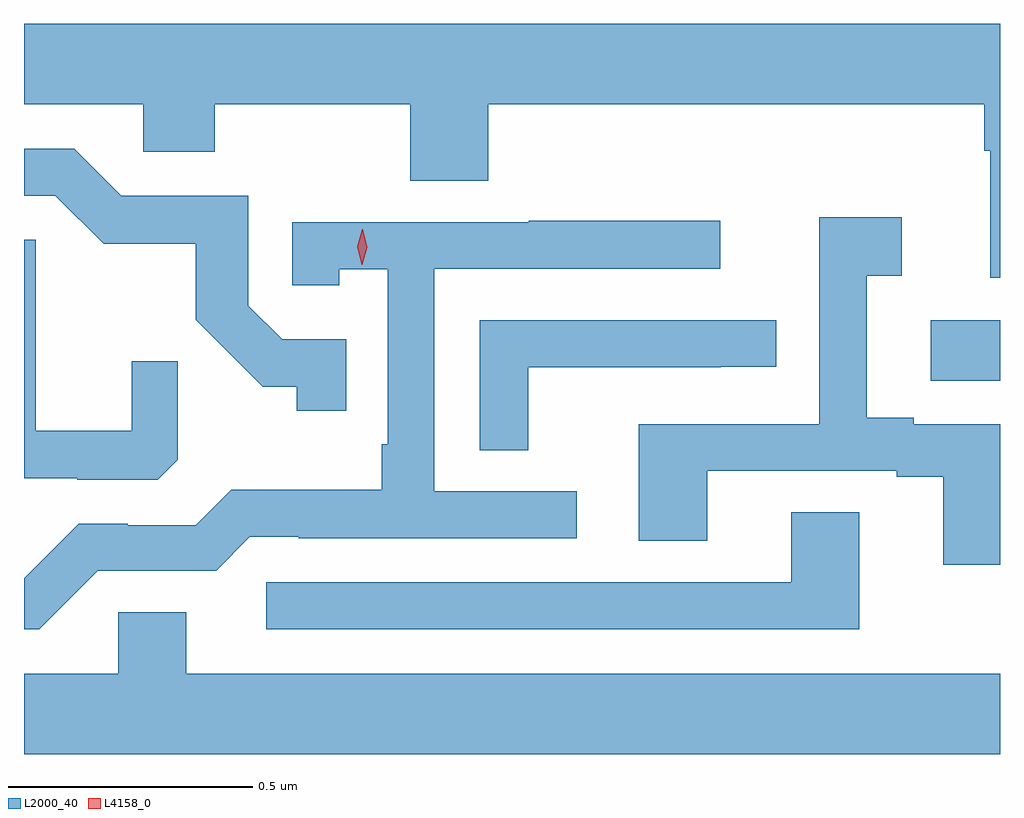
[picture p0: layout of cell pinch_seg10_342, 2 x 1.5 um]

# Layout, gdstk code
import gdstk
lib = gdstk.Library(unit=1e-6, precision=1e-09)
def R(c, l, rs):  # rectangles x0, y0, x1, y1
    for r in rs: c.add(gdstk.rectangle(r[:2], r[2:], *l))
def P(c, l, *ps):  # polygons
    for p in ps: c.add(gdstk.Polygon(p, *l))
L2000_40 = (2000, 40)
L4158_0 = (4158, 0)

pinch_seg10_342 = lib.new_cell('pinch_seg10_342')
R(pinch_seg10_342, L2000_40, [(496.623,1277.105,496.765,1277.229)])
P(pinch_seg10_342, L2000_40, [(496.765,1277.836),(494.765,1277.836),(494.765,1277.672),(495.009,1277.672),(495.009,1277.574),(495.156,1277.574),(495.156,1277.672),(495.556,1277.672),(495.556,1277.515),(495.716,1277.515),(495.716,1277.672),(496.733,1277.672),(496.733,1277.576),(496.745,1277.576),(496.745,1277.316),(496.765,1277.316)],
  [(495.425,1277.19),(495.294,1277.19),(495.225,1277.259),(495.225,1277.484),(494.964,1277.484),(494.868,1277.58),(494.765,1277.58),(494.765,1277.484),(494.829,1277.484),(494.928,1277.386),(495.117,1277.386),(495.117,1277.23),(495.254,1277.093),(495.324,1277.093),(495.324,1277.043),(495.425,1277.043)],
  [(496.765,1277.016),(496.588,1277.016),(496.588,1277.029),(496.492,1277.029),(496.492,1277.32),(496.564,1277.32),(496.564,1277.44),(496.395,1277.44),(496.395,1277.016),(496.025,1277.016),(496.025,1276.777),(496.165,1276.777),(496.165,1276.92),(496.553,1276.92),(496.553,1276.908),(496.649,1276.908),(496.649,1276.728),(496.765,1276.728)],
  [(494.916,1276.716),(495.159,1276.716),(495.228,1276.785),(495.328,1276.785),(495.328,1276.782),(495.898,1276.782),(495.898,1276.878),(495.606,1276.878),(495.606,1277.334),(496.192,1277.334),(496.192,1277.433),(495.799,1277.433),(495.799,1277.43),(495.315,1277.43),(495.315,1277.301),(495.411,1277.301),(495.411,1277.333),(495.51,1277.333),(495.51,1276.975),(495.498,1276.975),(495.498,1276.882),(495.19,1276.882),(495.117,1276.809),(494.978,1276.809),(494.978,1276.812),(494.877,1276.812),(494.765,1276.7),(494.765,1276.596),(494.796,1276.596)],
  [(495.08,1276.943),(495.08,1277.145),(494.986,1277.145),(494.986,1277.002),(494.789,1277.002),(494.789,1277.394),(494.765,1277.394),(494.765,1276.905),(494.874,1276.905),(494.874,1276.902),(495.039,1276.902)],
  [(495.798,1277.133),(496.193,1277.133),(496.193,1277.134),(496.306,1277.134),(496.306,1277.229),(495.699,1277.229),(495.699,1276.963),(495.798,1276.963)],
  [(496.477,1276.835),(496.337,1276.835),(496.337,1276.692),(495.261,1276.692),(495.261,1276.596),(496.477,1276.596)],
  [(496.765,1276.504),(495.097,1276.504),(495.097,1276.631),(494.958,1276.631),(494.958,1276.504),(494.765,1276.504),(494.765,1276.34),(496.765,1276.34)])
P(pinch_seg10_342, L4158_0, [(495.457,1277.343),(495.457,1277.343),(495.448,1277.379),(495.458,1277.415),(495.459,1277.415),(495.459,1277.415),(495.468,1277.378),(495.458,1277.343)])

lib.write_gds('pinch_seg10_342.gds')
